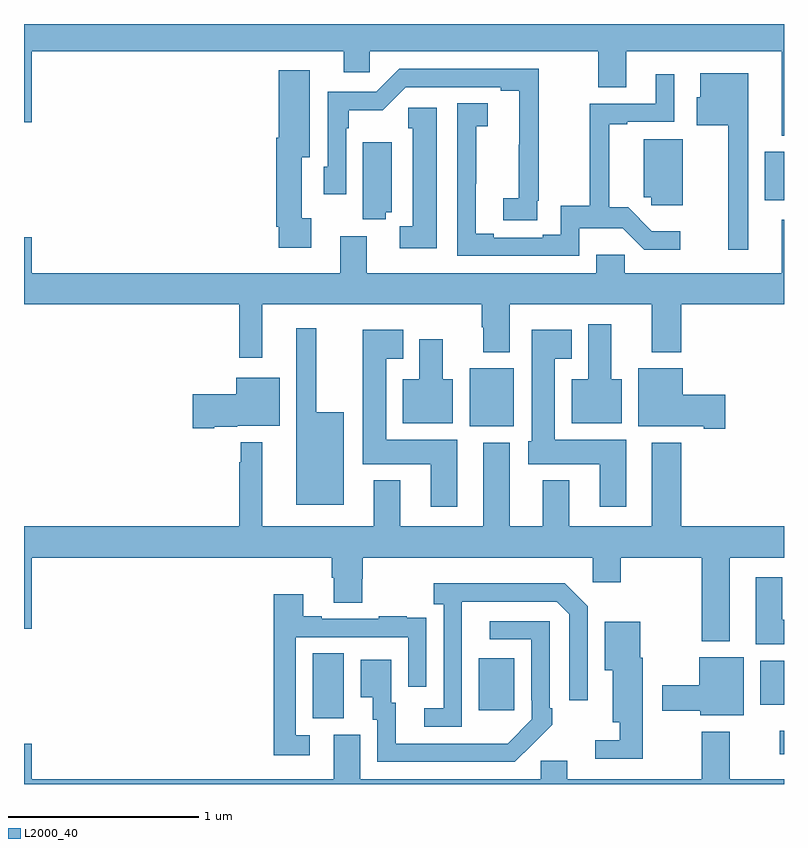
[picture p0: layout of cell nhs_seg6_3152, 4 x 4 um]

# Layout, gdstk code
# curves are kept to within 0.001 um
import gdstk
lib = gdstk.Library(unit=1e-6, precision=1e-09)
def R(c, l, rs):  # rectangles x0, y0, x1, y1
    for r in rs: c.add(gdstk.rectangle(r[:2], r[2:], *l))
def P(c, l, *ps):  # polygons
    for p in ps: c.add(gdstk.Polygon(p, *l))
L2000_40 = (2000, 40)

nhs_seg6_3152 = lib.new_cell('nhs_seg6_3152')
R(nhs_seg6_3152, L2000_40, [(300.978,923.657,301,923.779), (298.52,923.845,298.684,924.188), (299.393,923.889,299.581,924.163), (300.875,923.918,301,924.148), (299.345,925.382,299.578,925.687), (300.899,926.573,301,926.827)])
P(nhs_seg6_3152, L2000_40, [(301,927.5),(297,927.5),(297,926.982),(297.04,926.982),(297.04,927.356),(298.682,927.356),(298.682,927.246),(298.821,927.246),(298.821,927.356),(300.022,927.356),(300.022,927.166),(300.169,927.166),(300.169,927.356),(300.989,927.356),(300.989,926.912),(301,926.912)],
  [(299.702,926.569),(299.708,926.569),(299.708,927.264),(298.974,927.264),(298.854,927.144),(298.599,927.144),(298.599,926.748),(298.578,926.748),(298.578,926.604),(298.695,926.604),(298.695,926.951),(298.708,926.951),(298.708,927.047),(298.889,927.047),(299.01,927.168),(299.51,927.168),(299.51,927.148),(299.606,927.148),(299.605,926.582),(299.523,926.582),(299.523,926.467),(299.702,926.467)],
  [(298.513,926.478),(298.462,926.478),(298.462,926.798),(298.504,926.798),(298.504,927.256),(298.34,927.256),(298.34,926.902),(298.328,926.902),(298.328,926.434),(298.34,926.434),(298.34,926.322),(298.513,926.322)],
  [(300.811,927.241),(300.56,927.241),(300.56,927.114),(300.542,927.114),(300.542,926.966),(300.707,926.966),(300.707,926.313),(300.811,926.313)],
  [(299.922,926.426),(300.151,926.426),(300.264,926.313),(300.454,926.313),(300.454,926.41),(300.305,926.41),(300.179,926.536),(300.08,926.536),(300.08,926.973),(300.175,926.973),(300.175,926.985),(300.423,926.985),(300.423,927.235),(300.326,927.235),(300.326,927.081),(299.977,927.081),(299.977,926.543),(299.826,926.543),(299.826,926.39),(299.729,926.39),(299.729,926.376),(299.473,926.376),(299.473,926.396),(299.377,926.396),(299.377,926.659),(299.379,926.659),(299.379,926.963),(299.44,926.963),(299.44,927.083),(299.28,927.083),(299.28,926.28),(299.922,926.28)],
  [(299.173,927.058),(299.023,927.058),(299.023,926.952),(299.045,926.952),(299.045,926.436),(298.977,926.436),(298.977,926.321),(299.173,926.321)],
  [(300.466,926.893),(300.263,926.893),(300.263,926.588),(300.3,926.588),(300.3,926.546),(300.466,926.546)],
  [(298.904,926.51),(298.936,926.51),(298.936,926.878),(298.784,926.878),(298.784,926.473),(298.904,926.473)],
  [(298.255,926.024),(299.41,926.024),(299.41,925.904),(299.417,925.904),(299.417,925.772),(299.557,925.772),(299.557,926.024),(300.305,926.024),(300.305,925.772),(300.458,925.772),(300.458,926.024),(301,926.024),(301,926.47),(300.989,926.47),(300.989,926.188),(300.163,926.188),(300.163,926.286),(300.011,926.286),(300.011,926.188),(298.804,926.188),(298.804,926.383),(298.664,926.383),(298.664,926.188),(297.04,926.188),(297.04,926.377),(297,926.377),(297,926.024),(298.134,926.024),(298.134,925.743),(298.255,925.743)],
  [(300.145,925.63),(300.091,925.63),(300.091,925.921),(299.969,925.921),(299.969,925.63),(299.882,925.63),(299.882,925.4),(300.145,925.4)],
  [(298.684,925.456),(298.537,925.456),(298.537,925.9),(298.433,925.9),(298.433,924.971),(298.684,924.971)],
  [(299.281,925.312),(298.906,925.312),(298.906,925.739),(298.996,925.739),(298.996,925.891),(298.784,925.891),(298.784,925.184),(299.141,925.184),(299.141,924.96),(299.281,924.96)],
  [(300.169,925.312),(299.794,925.312),(299.794,925.739),(299.884,925.739),(299.884,925.891),(299.672,925.891),(299.672,925.305),(299.654,925.305),(299.654,925.184),(300.029,925.184),(300.029,924.96),(300.169,924.96)],
  [(299.257,925.63),(299.203,925.63),(299.203,925.84),(299.081,925.84),(299.081,925.63),(298.994,925.63),(298.994,925.4),(299.257,925.4)],
  [(300.691,925.548),(300.466,925.548),(300.466,925.687),(300.233,925.687),(300.233,925.382),(300.578,925.382),(300.578,925.37),(300.691,925.37)],
  [(298,925.379),(298.122,925.379),(298.122,925.385),(298.345,925.385),(298.345,925.639),(298.118,925.639),(298.118,925.551),(297.888,925.551),(297.888,925.373),(298,925.373)],
  [(300.715,924.692),(301,924.692),(301,924.856),(300.458,924.856),(300.458,925.297),(300.305,925.297),(300.305,924.856),(299.869,924.856),(299.869,925.099),(299.729,925.099),(299.729,924.856),(299.557,924.856),(299.557,925.297),(299.417,925.297),(299.417,924.856),(298.981,924.856),(298.981,925.099),(298.841,925.099),(298.841,924.856),(298.255,924.856),(298.255,925.3),(298.141,925.3),(298.141,925.193),(298.134,925.193),(298.134,924.856),(297,924.856),(297,924.318),(297.04,924.318),(297.04,924.692),(298.619,924.692),(298.619,924.586),(298.631,924.586),(298.631,924.454),(298.779,924.454),(298.779,924.579),(298.784,924.579),(298.784,924.692),(299.994,924.692),(299.994,924.561),(300.141,924.561),(300.141,924.692),(300.568,924.692),(300.568,924.251),(300.715,924.251)],
  [(301,924.364),(300.991,924.364),(300.991,924.589),(300.851,924.589),(300.851,924.236),(301,924.236)],
  [(299.304,924.259),(299.305,924.459),(299.805,924.459),(299.871,924.393),(299.871,923.94),(299.967,923.94),(299.967,924.435),(299.846,924.556),(299.157,924.556),(299.157,924.446),(299.208,924.446),(299.208,923.898),(299.106,923.898),(299.106,923.802),(299.304,923.802)],
  [(298.504,923.757),(298.431,923.757),(298.431,924.273),(299.022,924.273),(299.022,924.012),(299.118,924.012),(299.118,924.266),(299.117,924.266),(299.117,924.375),(299.015,924.375),(299.015,924.382),(298.867,924.382),(298.867,924.369),(298.567,924.369),(298.567,924.382),(298.471,924.382),(298.471,924.499),(298.315,924.499),(298.315,923.652),(298.504,923.652)],
  [(299.675,923.707),(299.676,923.706),(299.781,923.811),(299.781,923.899),(299.766,923.899),(299.766,924.357),(299.451,924.357),(299.451,924.261),(299.67,924.261),(299.67,923.941),(299.673,923.941),(299.673,923.841),(299.545,923.713),(298.957,923.712),(298.957,923.928),(298.933,923.928),(298.933,924.154),(298.772,924.154),(298.772,923.957),(298.835,923.957),(298.835,923.838),(298.86,923.838),(298.86,923.616),(299.584,923.616)],
  [(300.256,924.165),(300.244,924.165),(300.244,924.355),(300.056,924.355),(300.056,924.098),(300.098,924.098),(300.098,923.825),(300.135,923.825),(300.135,923.73),(300.006,923.73),(300.006,923.634),(300.256,923.634)],
  [(300.787,924.166),(300.554,924.166),(300.554,924.02),(300.36,924.02),(300.36,923.885),(300.558,923.885),(300.558,923.861),(300.787,923.861)],
  [(300.568,923.776),(300.568,923.524),(299.86,923.524),(299.86,923.622),(299.721,923.622),(299.721,923.524),(298.771,923.524),(298.771,923.76),(298.631,923.76),(298.631,923.524),(297.04,923.524),(297.04,923.713),(297,923.713),(297,923.5),(301,923.5),(301,923.524),(300.715,923.524),(300.715,923.776)])

lib.write_gds('nhs_seg6_3152.gds')
